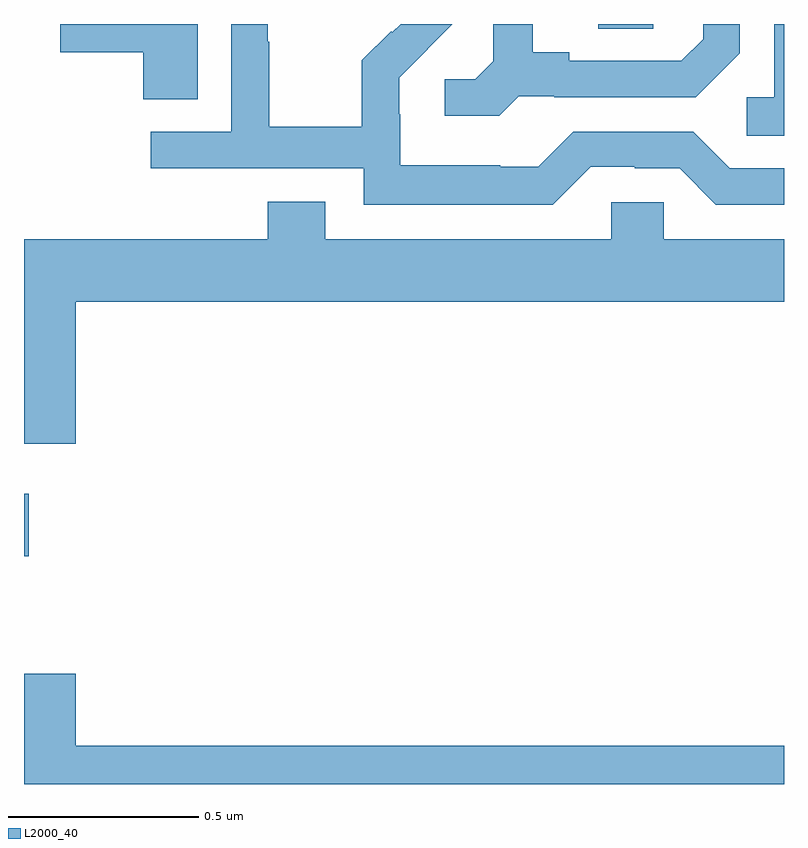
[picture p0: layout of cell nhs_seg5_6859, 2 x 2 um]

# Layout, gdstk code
import gdstk
lib = gdstk.Library(unit=1e-6, precision=1e-09)
def R(c, l, rs):  # rectangles x0, y0, x1, y1
    for r in rs: c.add(gdstk.rectangle(r[:2], r[2:], *l))
def P(c, l, *ps):  # polygons
    for p in ps: c.add(gdstk.Polygon(p, *l))
L2000_40 = (2000, 40)

nhs_seg5_6859 = lib.new_cell('nhs_seg5_6859')
R(nhs_seg5_6859, L2000_40, [(201,881.398,201.013,881.563), (202.511,882.787,202.656,882.799)])
P(nhs_seg5_6859, L2000_40, [(202.302,882.609),(202.396,882.609),(202.396,882.606),(202.768,882.606),(202.884,882.722),(202.884,882.799),(202.787,882.799),(202.787,882.759),(202.73,882.702),(202.435,882.702),(202.435,882.725),(202.339,882.725),(202.339,882.799),(202.235,882.799),(202.235,882.701),(202.188,882.654),(202.107,882.654),(202.107,882.557),(202.25,882.557)],
  [(203,882.799),(202.974,882.799),(202.974,882.606),(202.902,882.606),(202.902,882.505),(203,882.505)],
  [(201.457,882.799),(201.096,882.799),(201.096,882.725),(201.314,882.725),(201.314,882.601),(201.457,882.601)],
  [(202.491,882.423),(202.607,882.423),(202.607,882.42),(202.725,882.42),(202.821,882.324),(203,882.324),(203,882.42),(202.857,882.42),(202.761,882.516),(202.446,882.516),(202.353,882.423),(202.253,882.423),(202.253,882.427),(201.99,882.427),(201.99,882.561),(201.988,882.561),(201.988,882.658),(202.062,882.732),(202.061,882.733),(202.127,882.799),(201.991,882.799),(201.969,882.777),(201.966,882.78),(201.889,882.703),(201.889,882.529),(201.645,882.529),(201.645,882.752),(201.642,882.752),(201.642,882.799),(201.546,882.799),(201.546,882.516),(201.333,882.516),(201.333,882.42),(201.894,882.42),(201.894,882.323),(202.391,882.323)],
  [(201.136,882.068),(203,882.068),(203,882.232),(202.683,882.232),(202.683,882.33),(202.545,882.33),(202.545,882.232),(201.793,882.232),(201.793,882.331),(201.641,882.331),(201.641,882.232),(201,882.232),(201,881.694),(201.136,881.694)],
  [(203,880.9),(201.136,880.9),(201.136,881.089),(201,881.089),(201,880.799),(203,880.799)])

lib.write_gds('nhs_seg5_6859.gds')
